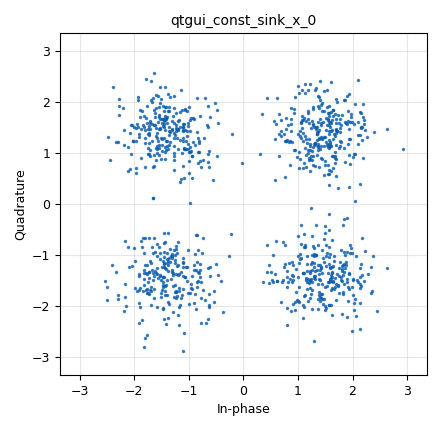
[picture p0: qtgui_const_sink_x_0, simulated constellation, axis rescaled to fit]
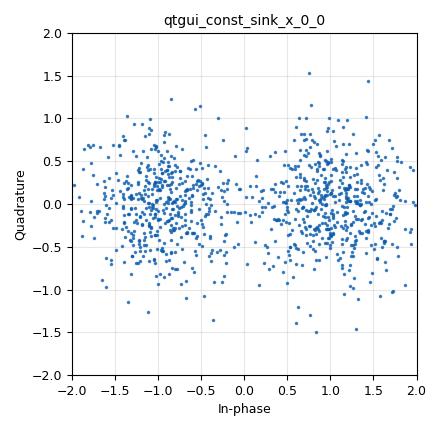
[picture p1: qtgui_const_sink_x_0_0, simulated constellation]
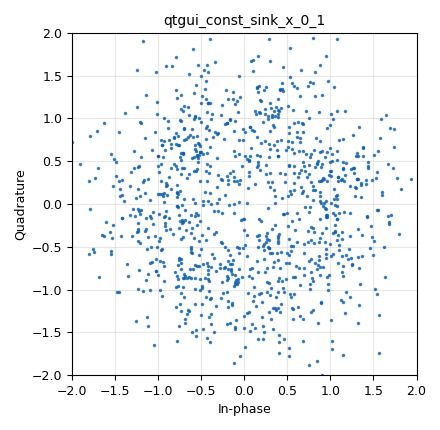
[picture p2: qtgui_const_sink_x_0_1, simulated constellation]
options:
  parameters:
    author: mike
    generate_options: qt_gui
    id: lab4
    output_language: python
    title: LAB_4
  states: {}

blocks:
- name: const_0
  id: variable_constellation
  parameters:
    precision: '8'
    type: bpsk
  states: {}
- name: const_1
  id: variable_constellation
  parameters:
    precision: '8'
    type: qpsk
  states: {}
- name: const_2
  id: variable_constellation
  parameters:
    precision: '8'
    type: 8psk
  states: {}
- name: noise_volt
  id: variable_qtgui_range
  parameters:
    comment: 0,0,1,1
    gui_hint: 0,0,1,1
    label: 'Channel: Noise Voltage'
    start: '0.01'
    step: '0.01'
    stop: '1'
    value: '0.6302'
  states: {}
- name: samp_rate
  id: variable
  parameters:
    value: '32000'
  states: {}
- name: analog_noise_source_x_0
  id: analog_noise_source_x
  parameters:
    amp: noise_volt
    noise_type: analog.GR_GAUSSIAN
    seed: '0'
    type: complex
  states: {}
- name: analog_noise_source_x_0_0
  id: analog_noise_source_x
  parameters:
    amp: noise_volt
    noise_type: analog.GR_GAUSSIAN
    seed: '0'
    type: complex
  states: {}
- name: analog_noise_source_x_0_1
  id: analog_noise_source_x
  parameters:
    amp: noise_volt
    noise_type: analog.GR_GAUSSIAN
    seed: '0'
    type: complex
  states: {}
- name: analog_random_source_x_0
  id: analog_random_source_x
  parameters:
    max: '2'
    min: '0'
    num_samps: '10000'
    repeat: 'True'
    type: byte
  states: {}
- name: analog_random_source_x_0_0
  id: analog_random_source_x
  parameters:
    max: '4'
    min: '0'
    num_samps: '32000'
    repeat: 'True'
    type: byte
  states: {}
- name: analog_random_source_x_0_1
  id: analog_random_source_x
  parameters:
    max: '8'
    min: '0'
    num_samps: '32000'
    repeat: 'True'
    type: byte
  states: {}
- name: blocks_add_xx_0
  id: blocks_add_xx
  parameters:
    type: complex
  states: {}
- name: blocks_add_xx_0_0
  id: blocks_add_xx
  parameters:
    type: complex
  states: {}
- name: blocks_add_xx_0_1
  id: blocks_add_xx
  parameters:
    type: complex
  states: {}
- name: blocks_pack_k_bits_bb_0
  id: blocks_pack_k_bits_bb
  parameters:
    k: '8'
  states: {}
- name: blocks_pack_k_bits_bb_0_0
  id: blocks_pack_k_bits_bb
  parameters:
    k: '8'
  states: {}
- name: blocks_pack_k_bits_bb_0_0_0
  id: blocks_pack_k_bits_bb
  parameters:
    k: '8'
  states: {}
- name: blocks_pack_k_bits_bb_0_0_1
  id: blocks_pack_k_bits_bb
  parameters:
    k: '8'
  states: {}
- name: blocks_throttle2_0
  id: blocks_throttle2
  parameters:
    samples_per_second: samp_rate
    type: complex
  states: {}
- name: blocks_throttle2_0_0
  id: blocks_throttle2
  parameters:
    samples_per_second: samp_rate
    type: complex
  states: {}
- name: blocks_throttle2_0_1
  id: blocks_throttle2
  parameters:
    samples_per_second: samp_rate
    type: complex
  states: {}
- name: digital_chunks_to_symbols_xx_0
  id: digital_chunks_to_symbols_xx
  parameters:
    dimension: '1'
    in_type: byte
    out_type: complex
    symbol_table: const_1.points()
  states: {}
- name: digital_chunks_to_symbols_xx_0_0
  id: digital_chunks_to_symbols_xx
  parameters:
    dimension: '1'
    in_type: byte
    out_type: complex
    symbol_table: const_0.points()
  states: {}
- name: digital_chunks_to_symbols_xx_0_1
  id: digital_chunks_to_symbols_xx
  parameters:
    dimension: '1'
    in_type: byte
    out_type: complex
    symbol_table: const_2.points()
  states: {}
- name: digital_constellation_decoder_cb_0
  id: digital_constellation_decoder_cb
  parameters:
    constellation: const_1
  states: {}
- name: digital_constellation_decoder_cb_0_0
  id: digital_constellation_decoder_cb
  parameters:
    constellation: const_0
  states: {}
- name: digital_constellation_decoder_cb_0_1
  id: digital_constellation_decoder_cb
  parameters:
    constellation: const_2
  states: {}
- name: fec_ber_bf_0
  id: fec_ber_bf
  parameters:
    test_mode: 'False'
  states: {}
- name: fec_ber_bf_0_0
  id: fec_ber_bf
  parameters:
    test_mode: 'False'
  states: {}
- name: fec_ber_bf_0_0_0
  id: fec_ber_bf
  parameters:
    test_mode: 'False'
  states: {}
- name: qtgui_const_sink_x_0
  id: qtgui_const_sink_x
  parameters:
    size: '1024'
    type: complex
  states: {}
- name: qtgui_const_sink_x_0_0
  id: qtgui_const_sink_x
  parameters:
    size: '1024'
    type: complex
  states: {}
- name: qtgui_const_sink_x_0_1
  id: qtgui_const_sink_x
  parameters:
    size: '1024'
    type: complex
  states: {}
- name: qtgui_number_sink_0_0
  id: qtgui_number_sink
  parameters:
    graph_type: qtgui.NUM_GRAPH_VERT
    name: '"BER QPSK"'
    type: float
  states: {}
- name: qtgui_number_sink_0_0_0
  id: qtgui_number_sink
  parameters:
    graph_type: qtgui.NUM_GRAPH_VERT
    name: '"BER 8-PSK"'
    type: float
  states: {}
- name: qtgui_number_sink_1
  id: qtgui_number_sink
  parameters:
    graph_type: qtgui.NUM_GRAPH_VERT
    name: '"BER BPSK"'
    type: float
  states: {}

connections:
- [analog_noise_source_x_0, '0', blocks_add_xx_0, '1']
- [analog_noise_source_x_0_0, '0', blocks_add_xx_0_0, '1']
- [analog_noise_source_x_0_1, '0', blocks_add_xx_0_1, '1']
- [analog_random_source_x_0, '0', digital_chunks_to_symbols_xx_0_0, '0']
- [analog_random_source_x_0, '0', fec_ber_bf_0, '0']
- [analog_random_source_x_0_0, '0', blocks_pack_k_bits_bb_0_0, '0']
- [analog_random_source_x_0_0, '0', digital_chunks_to_symbols_xx_0, '0']
- [analog_random_source_x_0_1, '0', blocks_pack_k_bits_bb_0_0_1, '0']
- [analog_random_source_x_0_1, '0', digital_chunks_to_symbols_xx_0_1, '0']
- [blocks_add_xx_0, '0', blocks_throttle2_0, '0']
- [blocks_add_xx_0_0, '0', blocks_throttle2_0_0, '0']
- [blocks_add_xx_0_0, '0', qtgui_const_sink_x_0_0, '0']
- [blocks_add_xx_0_1, '0', blocks_throttle2_0_1, '0']
- [blocks_pack_k_bits_bb_0, '0', fec_ber_bf_0_0, '1']
- [blocks_pack_k_bits_bb_0_0, '0', fec_ber_bf_0_0, '0']
- [blocks_pack_k_bits_bb_0_0_0, '0', fec_ber_bf_0_0_0, '1']
- [blocks_pack_k_bits_bb_0_0_1, '0', fec_ber_bf_0_0_0, '0']
- [blocks_throttle2_0, '0', digital_constellation_decoder_cb_0, '0']
- [blocks_throttle2_0, '0', qtgui_const_sink_x_0, '0']
- [blocks_throttle2_0_0, '0', digital_constellation_decoder_cb_0_0, '0']
- [blocks_throttle2_0_1, '0', digital_constellation_decoder_cb_0_1, '0']
- [blocks_throttle2_0_1, '0', qtgui_const_sink_x_0_1, '0']
- [digital_chunks_to_symbols_xx_0, '0', blocks_add_xx_0, '0']
- [digital_chunks_to_symbols_xx_0_0, '0', blocks_add_xx_0_0, '0']
- [digital_chunks_to_symbols_xx_0_1, '0', blocks_add_xx_0_1, '0']
- [digital_constellation_decoder_cb_0, '0', blocks_pack_k_bits_bb_0, '0']
- [digital_constellation_decoder_cb_0_0, '0', fec_ber_bf_0, '1']
- [digital_constellation_decoder_cb_0_1, '0', blocks_pack_k_bits_bb_0_0_0, '0']
- [fec_ber_bf_0, '0', qtgui_number_sink_1, '0']
- [fec_ber_bf_0_0, '0', qtgui_number_sink_0_0, '0']
- [fec_ber_bf_0_0_0, '0', qtgui_number_sink_0_0_0, '0']

metadata:
  file_format: 1
  grc_version: 3.10.12.0
